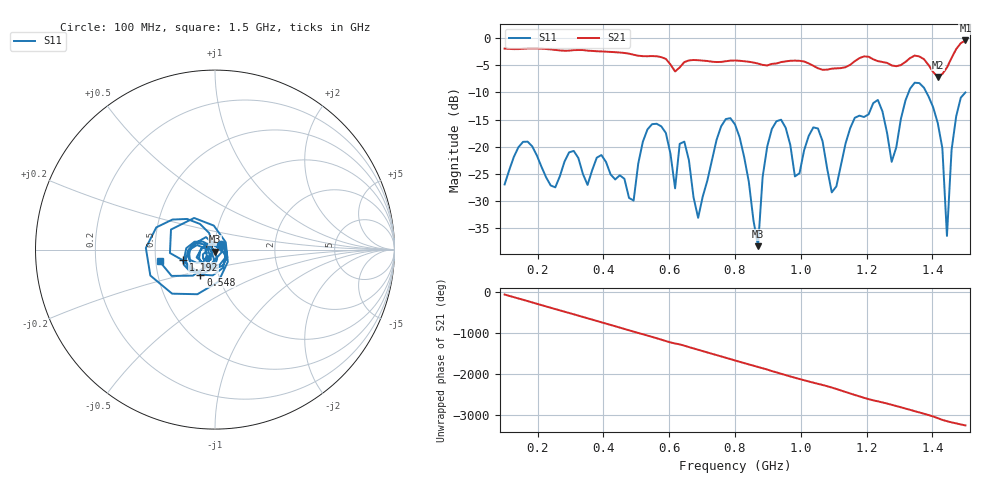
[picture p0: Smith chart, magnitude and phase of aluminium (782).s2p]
! NanoVNA-App
! Date: 2025-09-25 15:01:22
! Start: 100MHz Stop: 1,5GHz Points: 101
! S-Parameter data: F S11 S21 S12 S22
# Hz S RI R 50
!  Frequency  S11_Real  S11_Imag  S21_Real  S21_Imag  S12_Real  S12_Imag  S22_Real  S22_Imag
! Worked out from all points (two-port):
!   101 points, 100 MHz to 1.5 GHz, reference 50 ohm
!   highest |S21| = -0.43 dB at 1.5 GHz (marker M1); lowest = -7.2 dB at 1.416 GHz (marker M2)
!   |S21| within 3 dB of the highest: start of sweep to 569.5 MHz; 1.46 GHz to end of sweep (the widest 2 of 4)
!   lowest |S11| = -38.3 dB at 870 MHz (marker M3), VSWR 1.02, Z = 50.1 - j1.21 ohm
!   |S11| at or under -10 dB: start of sweep to 1.327 GHz; 1.382 GHz to end of sweep
!   S12 and S22 are empty: the file has one direction only
!   S11 on the Smith chart (normalised r, x): 100 MHz: 1.07, +0.06; 548 MHz: 0.82, -0.23; 1.192 GHz: 0.69, -0.08; 1.5 GHz: 0.52, -0.08
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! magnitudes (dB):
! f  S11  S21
! 100 MHz  -27.0  -1.9
! 156 MHz  -19.1  -2.0
! 338 MHz  -25.0  -2.2
! 492 MHz  -29.9  -3.1
! 548 MHz  -15.9  -3.3
! 576 MHz  -16.3  -3.5
! 618 MHz  -27.7  -6.1
! 646 MHz  -19.1  -4.4
! 688 MHz  -33.1  -4.1
! 800 MHz  -15.9  -4.1
! 870 MHz  -38.3  -4.7
! 912 MHz  -16.7  -4.7
! 982 MHz  -25.5  -4.2
! 1.038 GHz  -16.4  -5.1
! 1.094 GHz  -28.4  -5.6
! 1.192 GHz  -14.5  -3.4
! 1.276 GHz  -22.8  -5.0
! 1.346 GHz  -8.2  -3.2
! 1.416 GHz  -15.6  -7.2
! 1.444 GHz  -36.4  -5.4
! 1.458 GHz  -20.6  -3.7
! 1.5 GHz  -10.0  -0.4
